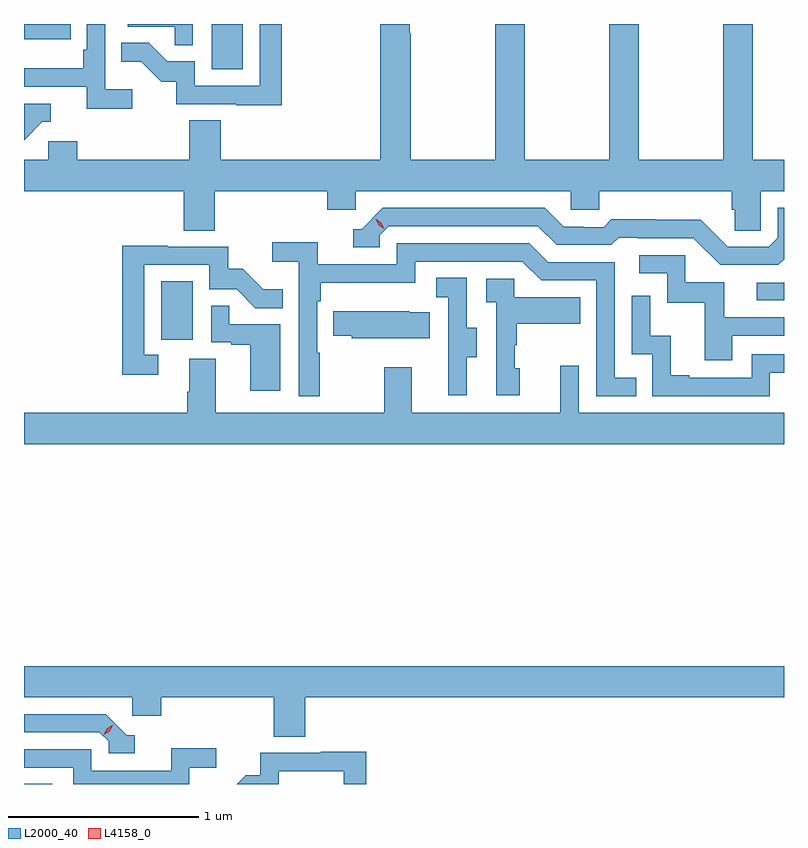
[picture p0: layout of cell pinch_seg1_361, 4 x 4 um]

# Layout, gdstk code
import gdstk
lib = gdstk.Library(unit=1e-6, precision=1e-09)
def R(c, l, rs):  # rectangles x0, y0, x1, y1
    for r in rs: c.add(gdstk.rectangle(r[:2], r[2:], *l))
def P(c, l, *ps):  # polygons
    for p in ps: c.add(gdstk.Polygon(p, *l))
L2000_40 = (2000, 40)
L4158_0 = (4158, 0)

pinch_seg1_361 = lib.new_cell('pinch_seg1_361')
R(pinch_seg1_361, L2000_40, [(949.145,529.963,949.294,529.964), (949.868,532.302,950.032,532.609), (950.132,533.724,950.296,533.963), (949.145,533.882,949.391,533.963)])
P(pinch_seg1_361, L2000_40, [(949.714,533.62),(949.572,533.62),(949.572,533.963),(949.476,533.963),(949.476,533.827),(949.456,533.827),(949.456,533.731),(949.145,533.731),(949.145,533.634),(949.475,533.634),(949.475,533.518),(949.714,533.518)],
  [(950.15,533.084),(950.741,533.084),(950.741,532.986),(950.892,532.986),(950.892,533.084),(952.023,533.084),(952.023,532.986),(952.173,532.986),(952.173,533.084),(952.871,533.084),(952.871,532.986),(952.885,532.986),(952.885,532.876),(953.022,532.876),(953.022,533.084),(953.145,533.084),(953.145,533.248),(952.98,533.248),(952.98,533.963),(952.825,533.963),(952.825,533.248),(952.38,533.248),(952.38,533.963),(952.225,533.963),(952.225,533.248),(951.78,533.248),(951.78,533.963),(951.625,533.963),(951.625,533.248),(951.18,533.248),(951.18,533.915),(951.175,533.915),(951.175,533.963),(951.02,533.963),(951.02,533.248),(950.18,533.248),(950.18,533.456),(950.015,533.456),(950.015,533.248),(949.424,533.248),(949.424,533.346),(949.272,533.346),(949.272,533.248),(949.145,533.248),(949.145,533.084),(949.985,533.084),(949.985,532.876),(950.15,532.876)],
  [(950.501,533.963),(950.385,533.963),(950.385,533.637),(950.043,533.637),(950.043,533.766),(949.899,533.766),(949.801,533.864),(949.657,533.864),(949.657,533.765),(949.761,533.765),(949.868,533.658),(949.945,533.658),(949.945,533.541),(950.263,533.541),(950.263,533.536),(950.501,533.536)],
  [(950.034,533.963),(949.692,533.963),(949.692,533.949),(949.939,533.949),(949.939,533.851),(950.034,533.851)],
  [(949.242,533.448),(949.285,533.448),(949.285,533.544),(949.146,533.544),(949.146,533.481),(949.145,533.48),(949.145,533.351)],
  [(953.145,532.725),(953.145,532.995),(953.112,532.995),(953.112,532.839),(953.064,532.791),(952.848,532.791),(952.706,532.933),(952.47,532.933),(952.47,532.936),(952.237,532.936),(952.195,532.893),(952.092,532.893),(952.092,532.896),(951.985,532.896),(951.886,532.995),(951.033,532.995),(950.922,532.884),(950.879,532.884),(950.879,532.788),(951.018,532.788),(951.018,532.851),(951.066,532.899),(951.849,532.899),(951.948,532.8),(952.237,532.8),(952.276,532.839),(952.375,532.839),(952.375,532.836),(952.668,532.836),(952.809,532.695),(953.115,532.695)],
  [(950.701,532.232),(950.688,532.232),(950.688,532.505),(950.708,532.505),(950.708,532.601),(951.204,532.601),(951.204,532.713),(951.768,532.713),(951.867,532.614),(952.158,532.614),(952.158,532.005),(952.367,532.005),(952.367,532.101),(952.254,532.101),(952.254,532.71),(951.904,532.71),(951.805,532.809),(951.108,532.809),(951.108,532.698),(950.69,532.698),(950.69,532.814),(950.451,532.814),(950.451,532.712),(950.592,532.712),(950.592,532.005),(950.701,532.005)],
  [(949.852,532.221),(949.779,532.221),(949.779,532.695),(950.121,532.695),(950.121,532.566),(950.265,532.566),(950.363,532.468),(950.507,532.468),(950.507,532.567),(950.403,532.567),(950.296,532.674),(950.22,532.674),(950.22,532.791),(949.901,532.791),(949.901,532.796),(949.663,532.796),(949.663,532.116),(949.852,532.116)],
  [(952.873,532.323),(953.145,532.323),(953.145,532.419),(952.831,532.419),(952.831,532.605),(952.626,532.605),(952.626,532.746),(952.383,532.746),(952.383,532.65),(952.53,532.65),(952.53,532.497),(952.729,532.497),(952.729,532.194),(952.873,532.194)],
  [(951.475,532.21),(951.529,532.21),(951.529,532.365),(951.474,532.365),(951.474,532.628),(951.315,532.628),(951.315,532.525),(951.378,532.525),(951.378,532.221),(951.377,532.221),(951.377,532.008),(951.475,532.008)],
  [(951.754,532.152),(951.729,532.152),(951.729,532.271),(951.739,532.271),(951.739,532.385),(952.073,532.385),(952.073,532.525),(951.726,532.525),(951.726,532.623),(951.579,532.623),(951.579,532.499),(951.63,532.499),(951.63,532.008),(951.754,532.008)],
  [(953.145,532.605),(953.142,532.602),(953.001,532.602),(953.001,532.509),(953.145,532.509)],
  [(953.07,532.128),(953.145,532.128),(953.145,532.224),(952.974,532.224),(952.974,532.101),(952.645,532.101),(952.645,532.114),(952.55,532.114),(952.55,532.322),(952.44,532.322),(952.44,532.534),(952.344,532.534),(952.344,532.224),(952.452,532.224),(952.452,532.005),(953.07,532.005)],
  [(950.494,532.383),(950.225,532.383),(950.225,532.481),(950.13,532.481),(950.13,532.287),(950.237,532.287),(950.237,532.275),(950.336,532.275),(950.336,532.032),(950.494,532.032)],
  [(951.281,532.447),(951.173,532.447),(951.173,532.45),(950.773,532.45),(950.773,532.321),(950.871,532.321),(950.871,532.31),(951.281,532.31)],
  [(953.145,531.916),(952.065,531.916),(952.065,532.165),(951.968,532.165),(951.968,531.916),(951.187,531.916),(951.187,532.156),(951.04,532.156),(951.04,531.916),(950.155,531.916),(950.155,532.202),(950.015,532.202),(950.015,532.028),(950.003,532.028),(950.003,531.916),(949.145,531.916),(949.145,531.752),(953.145,531.752)],
  [(950.624,530.42),(953.145,530.42),(953.145,530.584),(949.145,530.584),(949.145,530.42),(949.716,530.42),(949.716,530.322),(949.868,530.322),(949.868,530.42),(950.459,530.42),(950.459,530.212),(950.624,530.212)],
  [(949.729,530.22),(949.686,530.22),(949.575,530.331),(949.145,530.331),(949.145,530.235),(949.542,530.235),(949.59,530.187),(949.59,530.124),(949.729,530.124)],
  [(950.016,530.048),(950.158,530.048),(950.158,530.15),(949.919,530.15),(949.919,530.034),(949.5,530.034),(949.5,530.145),(949.145,530.145),(949.145,530.049),(949.404,530.049),(949.404,529.963),(950.016,529.963)],
  [(950.487,530.031),(950.829,530.031),(950.829,529.963),(950.945,529.963),(950.945,530.132),(950.707,530.132),(950.707,530.127),(950.389,530.127),(950.389,530.01),(950.312,530.01),(950.265,529.963),(950.487,529.963)])
P(pinch_seg1_361, L4158_0, [(951.041,532.885),(951.011,532.904),(950.995,532.937),(950.995,532.937),(950.995,532.937),(951.026,532.918),(951.042,532.885),(951.042,532.885)],
  [(949.565,530.222),(949.565,530.222),(949.581,530.254),(949.612,530.274),(949.613,530.274),(949.613,530.273),(949.596,530.241),(949.565,530.222)])

lib.write_gds('pinch_seg1_361.gds')
